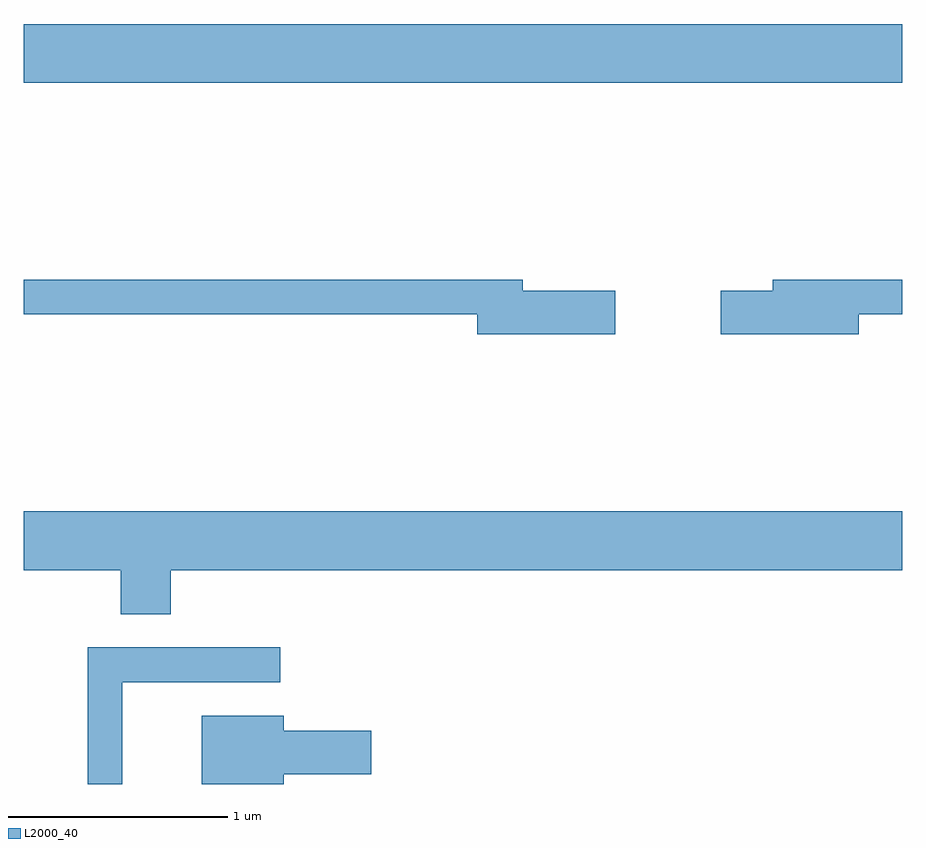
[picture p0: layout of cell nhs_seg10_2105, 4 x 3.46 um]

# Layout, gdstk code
import gdstk
lib = gdstk.Library(unit=1e-6, precision=1e-09)
def R(c, l, rs):  # rectangles x0, y0, x1, y1
    for r in rs: c.add(gdstk.rectangle(r[:2], r[2:], *l))
def P(c, l, *ps):  # polygons
    for p in ps: c.add(gdstk.Polygon(p, *l))
L2000_40 = (2000, 40)

nhs_seg10_2105 = lib.new_cell('nhs_seg10_2105')
R(nhs_seg10_2105, L2000_40, [(247.611,2091.716,251.611,2091.984)])
P(nhs_seg10_2105, L2000_40, [(251.414,2090.661),(251.611,2090.661),(251.611,2090.819),(251.021,2090.819),(251.021,2090.769),(250.786,2090.769),(250.786,2090.571),(251.414,2090.571)],
  [(250.304,2090.769),(249.884,2090.769),(249.884,2090.819),(247.611,2090.819),(247.611,2090.661),(249.676,2090.661),(249.676,2090.571),(250.304,2090.571)],
  [(248.279,2089.496),(251.611,2089.496),(251.611,2089.764),(247.611,2089.764),(247.611,2089.496),(248.051,2089.496),(248.051,2089.296),(248.279,2089.296)],
  [(248.059,2088.986),(248.778,2088.986),(248.778,2089.144),(247.901,2089.144),(247.901,2088.522),(248.059,2088.522)],
  [(248.794,2088.566),(249.194,2088.566),(249.194,2088.764),(248.794,2088.764),(248.794,2088.834),(248.421,2088.834),(248.421,2088.522),(248.794,2088.522)])

lib.write_gds('nhs_seg10_2105.gds')
